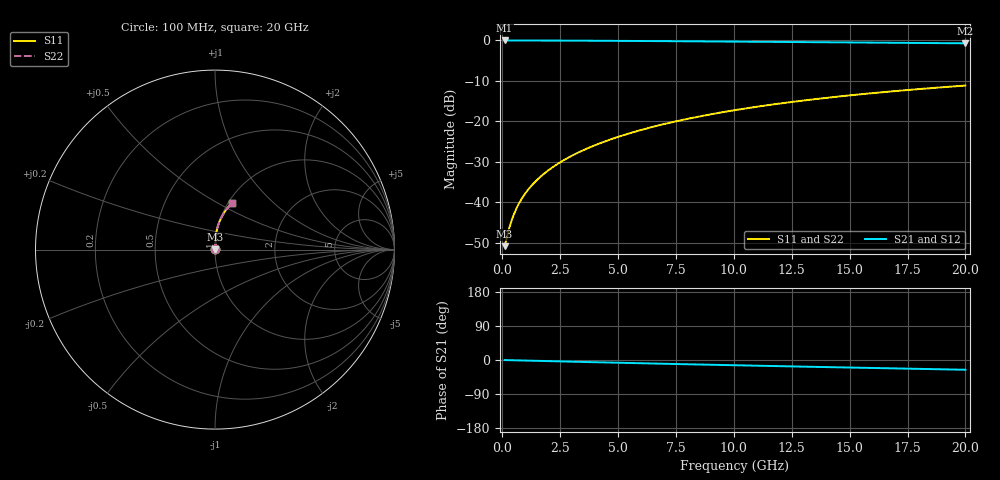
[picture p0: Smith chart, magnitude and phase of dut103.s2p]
! Touchstone file exported from HFSS 2024.1.0
!  File:  C:/UserFiles/LocalFiles/RDL_TSV_Batchsim/temp_RDL_top_103_1778683321.aedt
!  Generated:  10:44:13 PM May 13, 2026
!  Design:  RDL_top
!  Project:  temp_RDL_top_103_1778683321
!  Setup:  Setup1
!  Solution:  Sweep
! Variables:
!  dtsv = 10.80580581um
!  hbump = 3um
!  htsv = 73.98um
!  ldown = 100um
!  lrdl = 311.84um
!  p = 40
!  p1 = 55.22um
!  rhole = 1um
!  t = 450um
!  tdown = 3.915915916um
!  trdl = 2.16um
!  wdown = 15.38538539um
!  wrdl = 23.69um
# GHz S MA R 50.000000
! Terminal data exported
! Port[1] = Box2_T1
! Port[2] = Box2_T2
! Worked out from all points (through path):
!   200 points, 100 MHz to 20 GHz, reference 50 ohm
!   highest |S21| = -0.02 dB at 100 MHz (marker M1); lowest = -0.7 dB at 20 GHz (marker M2)
!   group delay of S21, straight-line fit = 3.54 ps
!   lowest |S11| = -50.9 dB at 100 MHz (marker M3), VSWR 1.01, Z = 50.3 + j0.135 ohm
!   |S11| at or under -10 dB: start of sweep to end of sweep
!   |S22| runs from -50.9 to -11.2 dB; largest |S21 - S12| = 2.5e-15
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0.1  0.002863 27.9  0.9975 -0.2  0.9975 -0.2  0.002863 27.9
! Gamma 0 0 0 0
! Port Impedance 50 0 50 0
0.3  0.004772 56.2  0.9973 -0.5  0.9973 -0.5  0.004772 56.2
0.4  0.005911 62.5  0.9972 -0.6  0.9972 -0.6  0.005911 62.5
0.5  0.007075 66.6  0.997 -0.8  0.997 -0.8  0.007075 66.6
0.6  0.008245 69.5  0.9969 -0.9  0.9969 -0.9  0.008244 69.5
0.7  0.009415 71.8  0.9968 -1.1  0.9968 -1.1  0.009414 71.8
0.9  0.01176 75.0  0.9965 -1.4  0.9965 -1.4  0.01175 75.0
1.2  0.01529 78.3  0.9961 -1.8  0.9961 -1.8  0.01529 78.3
1.4  0.01766 79.8  0.9958 -2.1  0.9958 -2.1  0.01766 79.8
1.7  0.02127 81.6  0.9953 -2.6  0.9953 -2.6  0.02127 81.6
2.2  0.02739 83.5  0.9944 -3.3  0.9944 -3.3  0.02738 83.5
2.8  0.03491 85.0  0.993 -4.2  0.993 -4.2  0.03491 85.0
3.5  0.04394 86.0  0.991 -5.2  0.991 -5.2  0.04394 86.0
4.2  0.05324 86.5  0.9888 -6.2  0.9888 -6.2  0.05324 86.5
5  0.06416 86.7  0.9861 -7.3  0.9861 -7.3  0.06416 86.7
6.8  0.08968 85.9  0.9791 -9.7  0.9791 -9.7  0.08967 85.9
8.4  0.113 84.5  0.9724 -11.8  0.9724 -11.8  0.113 84.5
10.1  0.1381 82.6  0.9651 -14.0  0.9651 -14.0  0.1381 82.6
11.7  0.1616 80.6  0.9581 -15.9  0.9581 -15.9  0.1616 80.6
13.4  0.1863 78.4  0.9505 -18.0  0.9505 -18.0  0.1863 78.4
16.7  0.2326 74.1  0.9353 -21.9  0.9353 -21.9  0.2326 74.1
20  0.2764 69.8  0.9195 -25.7  0.9195 -25.7  0.2764 69.8
